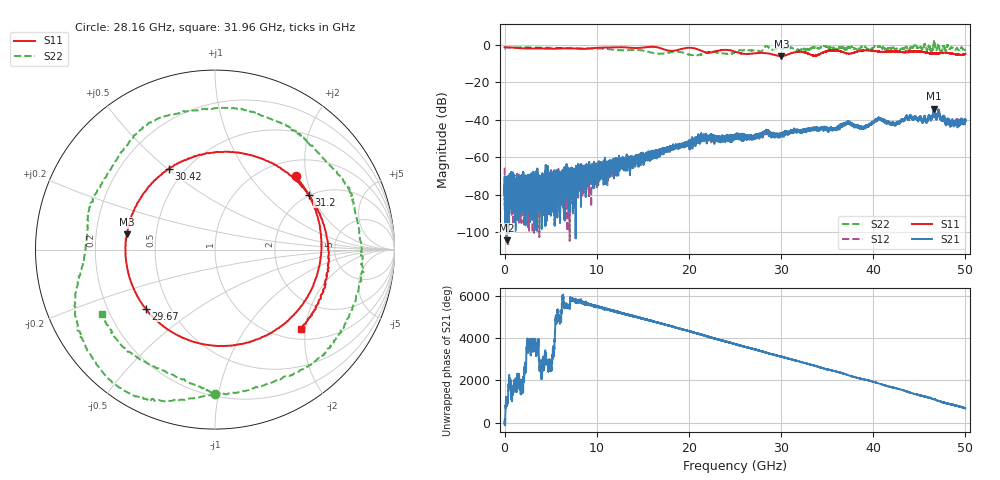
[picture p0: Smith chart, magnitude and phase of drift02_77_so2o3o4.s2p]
!Created with skrf (http://scikit-rf.org).
# Hz S RI R 50.0
!freq ReS11 ImS11 ReS21 ImS21 ReS12 ImS12 ReS22 ImS22
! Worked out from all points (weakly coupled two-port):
!   10001 points, 300 kHz to 50 GHz, reference 50 ohm
!   highest |S21| = -34.04 dB at 46.6 GHz (marker M1); lowest = -104.2 dB at 220.3 MHz (marker M2)
!   lowest |S11| = -6.1 dB at 30.04 GHz (marker M3), VSWR 2.98, Z = 16.9 + j3.79 ohm
!   |S11| at or under -10 dB: nowhere
!   |S22| runs from -5.7 to 2.3 dB; largest |S21 - S12| = 0.0033
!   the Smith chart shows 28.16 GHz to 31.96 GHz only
!   S11 on the Smith chart (normalised r, x): 28.16 GHz: 1.35, +1.74; 29.67 GHz: 0.37, -0.32; 30.42 GHz: 0.41, +0.51; 31.2 GHz: 1.96, +1.90; 31.96 GHz: 1.22, -1.88
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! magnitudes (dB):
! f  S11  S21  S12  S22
! 300 kHz  -1.3  -78.4  -65.5  -2.1
! 220.3 MHz  -1.3  -104.2  -74.7  -1.4
! 3.885 GHz  -2.0  -70.5  -76.2  -1.5
! 7.585 GHz  -2.0  -70.7  -70.8  -1.9
! 8.335 GHz  -2.2  -72.3  -70.4  -1.9
! 16.67 GHz  -1.4  -58.0  -56.7  -4.7
! 21.51 GHz  -3.6  -49.8  -49.8  -4.7
! 25 GHz  -3.7  -48.3  -49.0  -3.9
! 28.16 GHz  -4.3  -46.3  -46.9  -1.9
! 29.67 GHz  -5.9  -48.2  -48.4  -2.1
! 30.04 GHz  -6.1  -47.8  -47.7  -2.0
! 30.42 GHz  -5.7  -48.1  -46.8  -1.8
! 31.2 GHz  -4.4  -46.2  -46.1  -1.7
! 31.96 GHz  -3.7  -46.2  -45.8  -2.8
! 33.34 GHz  -5.5  -45.2  -45.0  -1.6
! 37.26 GHz  -4.7  -41.8  -41.5  -1.4
! 38.86 GHz  -3.0  -44.2  -43.9  -1.3
! 40.61 GHz  -3.7  -38.9  -39.3  -1.0
! 41.67 GHz  -3.6  -41.3  -41.1  -2.0
! 46.6 GHz  -4.6  -34.0  -34.6  1.7
! 48.5 GHz  -4.7  -42.9  -40.9  -1.6
! 50 GHz  -4.9  -40.0  -39.9  -2.8
